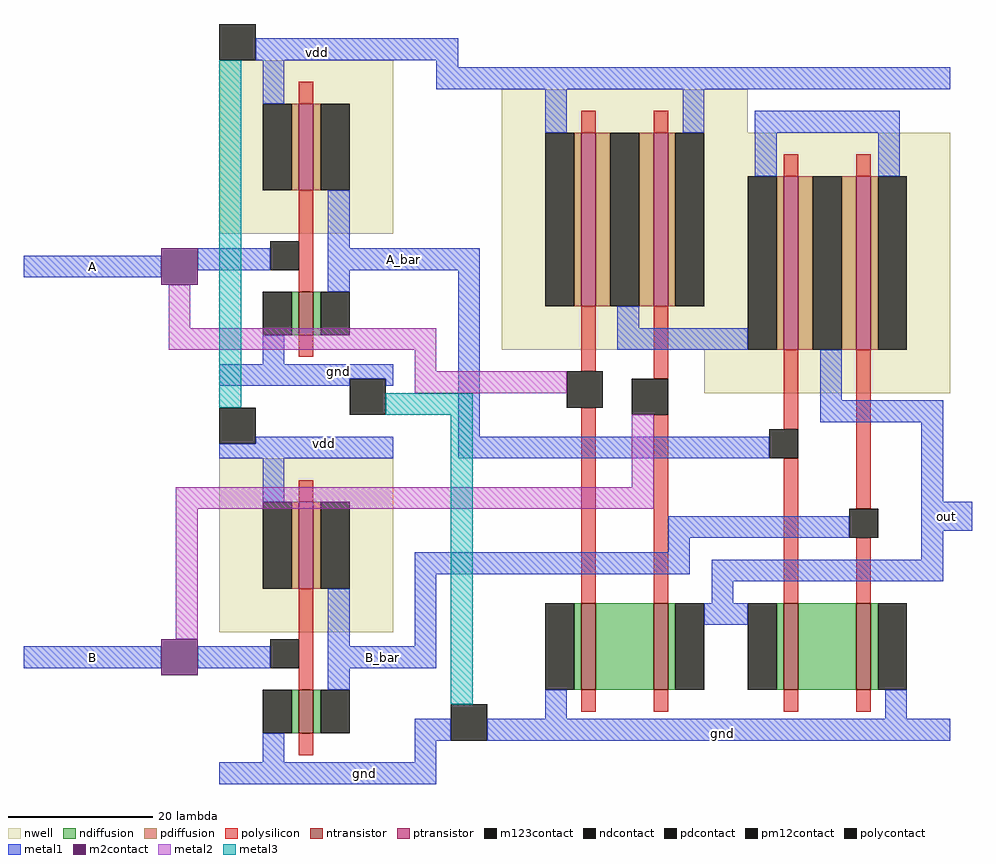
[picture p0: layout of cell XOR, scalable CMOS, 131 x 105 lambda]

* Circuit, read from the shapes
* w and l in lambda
.subckt XOR A A_bar B B_bar gnd out vdd
M1 B_bar B gnd VSUBS nfet w=6 l=2
M2 A_bar A gnd VSUBS nfet w=6 l=2
M3 n1 A gnd VSUBS nfet w=12 l=2
M4 out B n1 VSUBS nfet w=12 l=2
M5 n2 A_bar out VSUBS nfet w=12 l=2
M6 gnd B_bar n2 VSUBS nfet w=12 l=2
M7 B_bar B vdd n3 pfet w=12 l=2
M8 A_bar A vdd n4 pfet w=12 l=2
M9 n5 A vdd n6 pfet w=24 l=2
M10 vdd B n5 n6 pfet w=24 l=2
M11 out A_bar n5 n6 pfet w=24 l=2
M12 n5 B_bar out n6 pfet w=24 l=2
.ends

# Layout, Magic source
magic
tech scmos
<< nwell >>
rect 3209 794 3233 818
rect 3248 808 3282 814
rect 3248 778 3310 808
rect 3276 772 3310 778
rect 3209 739 3233 763
<< ntransistor >>
rect 3220 780 3222 786
rect 3259 731 3261 743
rect 3269 731 3271 743
rect 3287 731 3289 743
rect 3297 731 3299 743
rect 3220 725 3222 731
<< ptransistor >>
rect 3220 800 3222 812
rect 3259 784 3261 808
rect 3269 784 3271 808
rect 3287 778 3289 802
rect 3297 778 3299 802
rect 3220 745 3222 757
<< ndiffusion >>
rect 3219 780 3220 786
rect 3222 780 3223 786
rect 3258 731 3259 743
rect 3261 731 3269 743
rect 3271 731 3272 743
rect 3286 731 3287 743
rect 3289 731 3297 743
rect 3299 731 3300 743
rect 3219 725 3220 731
rect 3222 725 3223 731
<< pdiffusion >>
rect 3219 800 3220 812
rect 3222 800 3223 812
rect 3258 784 3259 808
rect 3261 784 3263 808
rect 3267 784 3269 808
rect 3271 784 3272 808
rect 3286 778 3287 802
rect 3289 778 3291 802
rect 3295 778 3297 802
rect 3299 778 3300 802
rect 3219 745 3220 757
rect 3222 745 3223 757
<< ndcontact >>
rect 3215 780 3219 786
rect 3223 780 3227 786
rect 3254 731 3258 743
rect 3272 731 3276 743
rect 3282 731 3286 743
rect 3300 731 3304 743
rect 3215 725 3219 731
rect 3223 725 3227 731
<< pdcontact >>
rect 3215 800 3219 812
rect 3223 800 3227 812
rect 3254 784 3258 808
rect 3263 784 3267 808
rect 3272 784 3276 808
rect 3282 778 3286 802
rect 3291 778 3295 802
rect 3300 778 3304 802
rect 3215 745 3219 757
rect 3223 745 3227 757
<< polysilicon >>
rect 3220 812 3222 815
rect 3259 808 3261 811
rect 3269 808 3271 811
rect 3220 786 3222 800
rect 3287 802 3289 805
rect 3297 802 3299 805
rect 3220 777 3222 780
rect 3259 775 3261 784
rect 3269 774 3271 784
rect 3220 757 3222 760
rect 3220 731 3222 745
rect 3259 743 3261 770
rect 3269 743 3271 769
rect 3287 767 3289 778
rect 3287 743 3289 763
rect 3297 756 3299 778
rect 3297 743 3299 752
rect 3259 728 3261 731
rect 3269 728 3271 731
rect 3287 728 3289 731
rect 3297 728 3299 731
rect 3220 722 3222 725
<< polycontact >>
rect 3216 789 3220 793
rect 3216 734 3220 738
rect 3285 763 3289 767
rect 3296 752 3300 756
<< metal1 >>
rect 3214 818 3242 821
rect 3215 812 3218 818
rect 3239 817 3242 818
rect 3239 814 3310 817
rect 3182 788 3201 791
rect 3206 789 3216 792
rect 3224 792 3227 800
rect 3254 808 3257 814
rect 3273 808 3276 814
rect 3224 789 3245 792
rect 3224 786 3227 789
rect 3215 776 3218 780
rect 3209 774 3233 776
rect 3209 773 3227 774
rect 3232 773 3233 774
rect 3242 766 3245 789
rect 3283 808 3303 811
rect 3283 802 3286 808
rect 3300 802 3303 808
rect 3264 781 3267 784
rect 3264 778 3282 781
rect 3292 771 3295 778
rect 3292 768 3309 771
rect 3214 765 3233 766
rect 3209 763 3233 765
rect 3242 763 3285 766
rect 3215 757 3218 763
rect 3306 757 3309 768
rect 3271 752 3296 755
rect 3306 753 3313 757
rect 3271 750 3274 752
rect 3182 734 3201 737
rect 3206 734 3216 737
rect 3224 737 3227 745
rect 3236 747 3274 750
rect 3306 749 3309 753
rect 3236 737 3239 747
rect 3277 746 3309 749
rect 3277 743 3280 746
rect 3224 734 3239 737
rect 3224 731 3227 734
rect 3276 740 3282 743
rect 3215 721 3218 725
rect 3236 724 3241 727
rect 3254 727 3257 731
rect 3301 727 3304 731
rect 3246 724 3310 727
rect 3236 721 3239 724
rect 3209 718 3239 721
<< m2contact >>
rect 3201 787 3206 792
rect 3201 733 3206 738
<< pm12contact >>
rect 3257 770 3262 775
rect 3266 769 3271 774
<< metal2 >>
rect 3202 781 3205 787
rect 3202 778 3239 781
rect 3236 775 3239 778
rect 3236 772 3257 775
rect 3266 759 3269 769
rect 3203 756 3269 759
rect 3203 738 3206 756
<< m123contact >>
rect 3209 818 3214 823
rect 3209 765 3214 770
rect 3227 769 3232 774
rect 3241 724 3246 729
<< metal3 >>
rect 3209 770 3212 818
rect 3232 769 3244 772
rect 3241 729 3244 769
<< labels >>
rlabel metal1 3222 764 3225 766 1 vdd
rlabel metal1 3221 818 3224 820 5 vdd
rlabel metal1 3225 774 3226 776 1 gnd
rlabel metal1 3277 724 3280 726 1 gnd
rlabel metal1 3227 718 3231 721 1 gnd
rlabel metal1 3306 753 3313 757 7 out
rlabel metal1 3182 788 3201 791 1 A
rlabel metal1 3182 734 3201 737 1 B
rlabel metal1 3224 789 3245 792 1 A_bar
rlabel metal1 3224 734 3239 737 1 B_bar
<< end >>
